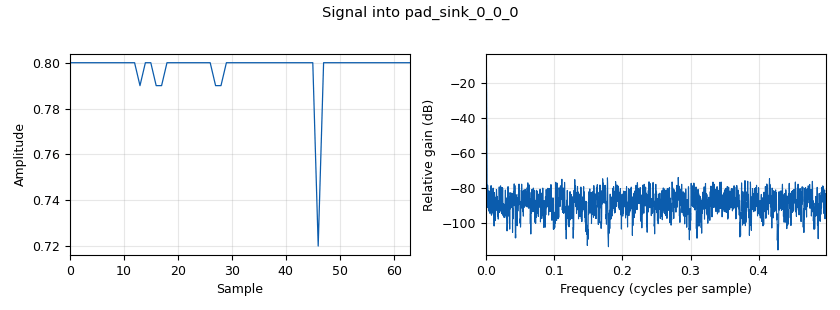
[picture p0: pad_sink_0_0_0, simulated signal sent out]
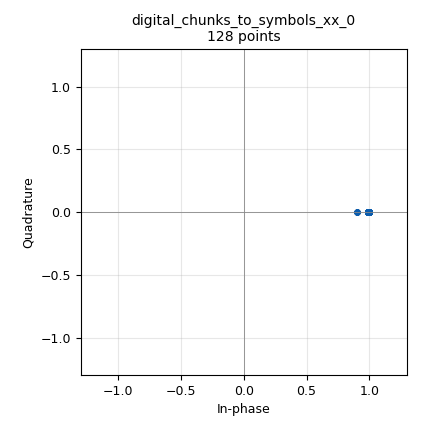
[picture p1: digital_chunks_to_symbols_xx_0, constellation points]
options:
  parameters:
    author: Homero Ortega Boada. Universidad Industrial de Santander
    category: '''[comdiguis]'''
    copyright: Grupo RadioGIS Universidad Industrial de Santander
    description: 'Este bloque es un simulador de un canal discreto, sencillo. La simplicidad de este canal esta en aplicar solo lo siguiente: ruido, desviacion de frecuencia, desviacion de angulo, fluctuaciones de magnitud, perdidas de propagacion. Para las fluctuaciones se supone que el umbral de amplitud de la senal que entra al canal es 1, como es el caso de los USRP. Parametros usados: samp_rate_Tx (Hz) es la frecuencia de muestreo del USRP transmisor;  Ch_Phoffset (Rad) permite programar el angulo de la portadora usada en transmision y la usada en recepcion; Ch_Toffset (muestras)  es el retardo que la senal sufre al pasar por el canal; No (dB) es el valor No (o PSD) dado en decibeles del ruido blanco del canal; Ch_Loss_dB (en dB de potencia) nivel de atenuacion que la senal transmitida sufre en el proceso de propagacion; Fluctuation - es el porcentaje de fluctuaciones en magnitud (un numero entero entre 0 y 100); Tfluct - es el periodo, dado en numero de muestras, en que ocurren las fluctuaciones'
    generate_options: hb
    id: b_Canal_simple_cc
    output_language: python
    title: b_Canal_simple_cc
  states: {}

blocks:
- name: Ch_Loss
  id: variable
  parameters:
    value: math.pow(10, Ch_Loss_dB/20.)
  states: {}
- name: F
  id: variable
  parameters:
    value: Fluctuacion/100.
  states: {}
- name: Ch_Loss_dB
  id: parameter
  parameters:
    label: Ch_Loss_dB
    type: eng_float
    value: '10.'
  states: {}
- name: Ch_NodB
  id: parameter
  parameters:
    label: Ch. W.Noise (No in dB)
    type: intx
    value: '1000'
  states: {}
- name: Ch_Phoffset
  id: parameter
  parameters:
    label: Ch_Phoffset
    type: eng_float
    value: '0.'
  states: {}
- name: Ch_Toffset
  id: parameter
  parameters:
    label: Channel Toffset
    type: intx
    value: '0'
  states: {}
- name: Fluctuacion
  id: parameter
  parameters:
    label: Fluctuacion (0-100)
    type: eng_float
    value: '10.0'
  states: {}
- name: Foffset
  id: parameter
  parameters:
    label: Freq offset (Hz)
    type: eng_float
    value: '0.'
  states: {}
- name: N_fluct
  id: parameter
  parameters:
    label: T_fluct (muestras)
    type: intx
    value: '1'
  states: {}
- name: Note
  id: note
  parameters:
    note: Esta ramificacion de abajo es la que introduce las fluctuaciones en magnitud
  states: {}
- name: analog_const_source_x_1_0
  id: analog_const_source_x
  parameters:
    const: cmath.exp(1j * Ch_Phoffset)
    type: complex
  states: {}
- name: analog_random_source_x_0
  id: analog_random_source_x
  parameters:
    max: '128'
    min: '0'
    num_samps: '1000'
    repeat: 'True'
    type: byte
  states: {}
- name: analog_sig_source_x_0
  id: analog_sig_source_x
  parameters:
    amp: '1'
    freq: Foffset
    offset: '0'
    phase: '0'
    samp_rate: samp_rate
    type: complex
    waveform: analog.GR_COS_WAVE
  states: {}
- name: b_noise_dB_cc_0
  id: b_noise_dB_cc
  parameters:
    NodB: Ch_NodB
    samp_rate: samp_rate
  states: {}
- name: blocks_add_xx_0
  id: blocks_add_xx
  parameters:
    type: complex
  states: {}
- name: blocks_delay_0
  id: blocks_delay
  parameters:
    delay: Ch_Toffset
    type: complex
  states: {}
- name: blocks_float_to_complex_0
  id: blocks_float_to_complex
  parameters: {}
  states: {}
- name: blocks_multiply_const_vxx_0
  id: blocks_multiply_const_vxx
  parameters:
    const: 1/Ch_Loss+0j
    type: complex
  states: {}
- name: blocks_multiply_const_vxx_1
  id: blocks_multiply_const_vxx
  parameters:
    const: '.8'
    type: float
  states: {}
- name: blocks_multiply_xx_0_0
  id: blocks_multiply_xx
  parameters:
    num_inputs: '4'
    type: complex
  states: {}
- name: blocks_null_source_0
  id: blocks_null_source
  parameters:
    type: float
  states: {}
- name: digital_chunks_to_symbols_xx_0
  id: digital_chunks_to_symbols_xx
  parameters:
    dimension: '1'
    in_type: byte
    out_type: float
    symbol_table: (112*[1.])+(14*[1.-F/8])+([1., 1.-F])
  states: {}
- name: import_0_1
  id: import
  parameters:
    imports: import cmath
  states: {}
- name: import_0_1_0
  id: import
  parameters:
    imports: import numpy
  states: {}
- name: import_0_1_0_0
  id: import
  parameters:
    imports: import random
  states: {}
- name: import_0_1_1
  id: import
  parameters:
    imports: import math
  states: {}
- name: interp_fir_filter_xxx_0
  id: interp_fir_filter_xxx
  parameters:
    interp: N_fluct
    taps: wform.rcos(N_fluct,N_fluct,0.5)
    type: fff
  states: {}
- name: pad_sink_0
  id: pad_sink
  parameters:
    label: out
    type: complex
  states: {}
- name: pad_sink_0_0
  id: pad_sink
  parameters:
    label: Noise
    optional: 'True'
    type: complex
  states: {}
- name: pad_sink_0_0_0
  id: pad_sink
  parameters:
    label: Fluctuacion
    optional: 'True'
    type: float
  states: {}
- name: pad_source_0
  id: pad_source
  parameters:
    label: in
    type: complex
  states: {}
- name: samp_rate
  id: parameter
  parameters:
    label: samp_rate
    type: intx
    value: '1000'
  states: {}
- name: wform
  id: epy_module
  parameters:
    source_code: |
      import math
      import numpy
      #######################################################
      ##        Hecho por Homero Ortega Boada              ##
      ##        comdiguis@saber.uis.edu.co                 ##
      ##     Universidad Industrial de Santander           ##
      #######################################################

      #######################################################
      ##               Forma rectangular                   ##
      #######################################################                       
      def rect(Sps,ntaps):
          h=ntaps*[0,]
          for n in range(Sps):
              k=int(ntaps/2) # esto es para que h[n] quede centrada en la mitad del vector
              h[k-n]=1.
          return h

      #######################################################
      ##               Forma de Nyquist                    ##
      #######################################################                       
      def nyq(Sps,ntaps):
          ntaps_min=-int(ntaps/2)
          ntaps_max=abs(ntaps_min)-1+int(math.ceil(ntaps/2.-abs(ntaps_min)))
          h=ntaps*[0,]
          for n in range(ntaps):
              k=n-ntaps/2. # esto es para que h[n] quede centrada en la mitad del vector
              h[n]=numpy.sinc(k/Sps)
          Amp=numpy.amax(h)
          return h/Amp

      #######################################################
      ##               Forma Coseno Alzado                 ##
      #######################################################                       
      def rcos(Sps,ntaps,beta):
          if beta==0:
              h=nyq(Sps,ntaps)
          else:
              h=ntaps*[0,]
              for n in range(ntaps):
                  k=n-ntaps/2. # esto es para que h[n] quede centrada en la mitad del vector
                  if abs(k)==Sps/(2.*beta):
                      h[n]=numpy.sinc(1./(2.*beta))*math.pi/4.
                  else:
                      h[n]=numpy.sinc(k/Sps)*math.cos(beta*k*math.pi/Sps)/(1.-(2.*beta*k/Sps)**2)                
          Amp=numpy.amax(h)
          return h/Amp

      #######################################################
      ##            Forma Raiz de Coseno Alzado            ##
      #######################################################                       

      def rrcos(Sps,ntaps,beta):
          if beta==0:
              h=nyq(Sps,ntaps)
          else:
              h=ntaps*[0,]
              beta4=4.*beta
              for n in range(ntaps):
                  k=n-ntaps/2. # esto es para que h[n] quede centrada en la mitad del vector
                  if k==0:
                      h[n]=1+beta*(4./math.pi-1.)
                  elif abs(k)==Sps/beta4:
                      ha=(1.+2./math.pi)*math.sin(math.pi/beta4)
                      hb=(1.-2./math.pi)*math.cos(math.pi/beta4)
                      h[n]=(ha+hb)*beta/math.sqrt(2.)
                  else:
                      ks=k/Sps
                      kspi=math.pi*ks
                      Num=math.sin(kspi*(1-beta))+beta4*ks*math.cos(kspi*(1+beta))
                      Den=kspi*(1.-(beta4*ks)**2)
                      h[n]=Num/Den                
          Amp=numpy.amax(h)
          return h/Amp
  states: {}

connections:
- [analog_const_source_x_1_0, '0', blocks_multiply_xx_0_0, '1']
- [analog_random_source_x_0, '0', digital_chunks_to_symbols_xx_0, '0']
- [analog_sig_source_x_0, '0', blocks_multiply_xx_0_0, '2']
- [b_noise_dB_cc_0, '0', blocks_add_xx_0, '1']
- [b_noise_dB_cc_0, '0', pad_sink_0_0, '0']
- [blocks_add_xx_0, '0', pad_sink_0, '0']
- [blocks_delay_0, '0', blocks_multiply_xx_0_0, '0']
- [blocks_float_to_complex_0, '0', blocks_multiply_xx_0_0, '3']
- [blocks_multiply_const_vxx_0, '0', blocks_add_xx_0, '0']
- [blocks_multiply_const_vxx_1, '0', interp_fir_filter_xxx_0, '0']
- [blocks_multiply_xx_0_0, '0', blocks_multiply_const_vxx_0, '0']
- [blocks_null_source_0, '0', blocks_float_to_complex_0, '1']
- [digital_chunks_to_symbols_xx_0, '0', blocks_multiply_const_vxx_1, '0']
- [interp_fir_filter_xxx_0, '0', blocks_float_to_complex_0, '0']
- [interp_fir_filter_xxx_0, '0', pad_sink_0_0_0, '0']
- [pad_source_0, '0', blocks_delay_0, '0']

metadata:
  file_format: 1
